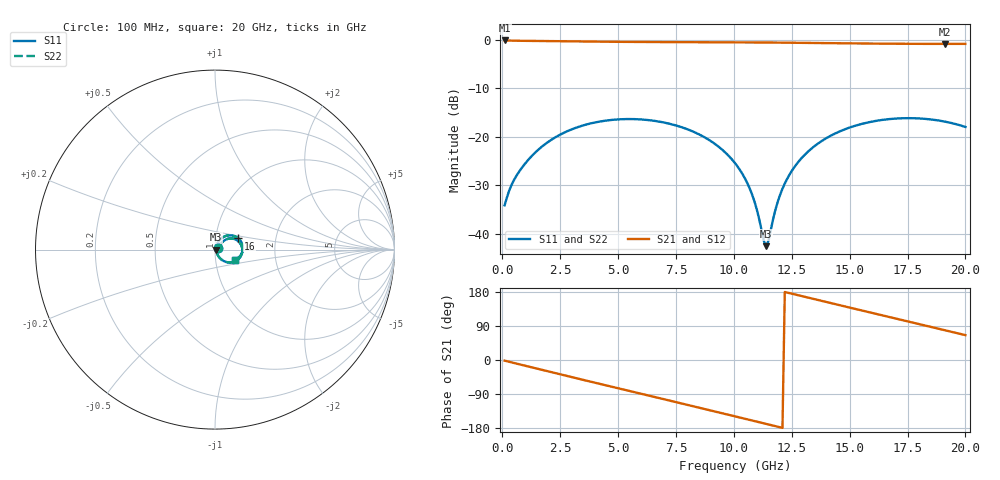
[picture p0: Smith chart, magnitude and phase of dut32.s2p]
! Touchstone file exported from HFSS 2026.1.0
!  File:  C:/ffzhzh/LocalFiles/Ansys_Project_Files/temp_train_TSV_RDL_32_1782964269_45308.aedt
!  Generated:  12:00:47 PM Jul  2, 2026
!  Design:  TSV_RDL
!  Project:  temp_train_TSV_RDL_32_1782964269_45308
! Variables:
!  h_bsmrdl = 4.35um
!  h_ox = 20um
!  h_rdl = 5um
!  h_sub = 88.58um
!  h_tmrdl = 3.45um
!  h_tsv = 88.58um
!  h_via = 3um
!  l_bsmrdl = 540.55um
!  l_sub = 4578.88um
!  l_tmrdl = 606.87um
!  m_sub = 200um
!  pitch = 33.27um
!  r_tsv = 13.45um
!  s_tmrdl = 10um
!  w_bsmrdl = 17.99um
!  w_sub = 500um
!  w_tmrdl = 25.26um
!  x_tsv_center1 = 619.5um
!  x_tsv_center2 = 1178.04um
!  x_tsv_center3 = 1810.17um
!  x_tsv_center4 = 2368.71um
!  x_tsv_center5 = 3000.84um
!  x_tsv_center6 = 3559.38um
# GHz S MA R 50.000000
! Terminal data exported
! Port[1] = TM_RDL1_1_T1
! Port[2] = TM_RDL5_1_T1
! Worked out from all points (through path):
!   200 points, 100 MHz to 20 GHz, reference 50 ohm
!   highest |S21| = -0.16 dB at 100 MHz (marker M1); lowest = -0.9 dB at 19.1 GHz (marker M2)
!   group delay of S21, straight-line fit = 40.8 ps
!   lowest |S11| = -42.5 dB at 11.4 GHz (marker M3), VSWR 1.02, Z = 50.8 + j0.0534 ohm
!   |S11| at or under -10 dB: start of sweep to end of sweep
!   |S22| runs from -42.7 to -16.2 dB; largest |S21 - S12| = 2.8e-14
!   S11 on the Smith chart (normalised r, x): 100 MHz: 1.04, +0.01; 16 GHz: 1.29, +0.16; 20 GHz: 1.25, -0.14
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0.1  0.01978 18.6  0.9814 -1.7  0.9814 -1.7  0.01978 18.6
! Gamma 0 0 0 0
! Port Impedance 50 0 50 0
0.5  0.03578 40.1  0.9757 -7.8  0.9757 -7.8  0.03578 40.1
1.3  0.06456 45.3  0.9708 -19.8  0.9708 -19.8  0.06456 45.3
2.3  0.0992 38.3  0.9651 -34.8  0.9651 -34.8  0.0992 38.3
3.5  0.1313 24.2  0.9577 -52.6  0.9577 -52.6  0.1313 24.2
5.2  0.1521 1.8  0.9491 -77.5  0.9491 -77.5  0.1521 1.8
6.8  0.1432 -19.8  0.9448 -100.8  0.9448 -100.8  0.1432 -19.9
8.7  0.1001 -45.0  0.9422 -128.7  0.9422 -128.7  0.1001 -45.1
10.1  0.05181 -60.8  0.9397 -149.4  0.9397 -149.4  0.05181 -61.0
10.8  0.02507 -61.6  0.9376 -159.8  0.9376 -159.8  0.02504 -62.0
11.3  0.008426 -23.2  0.9357 -167.2  0.9357 -167.2  0.008274 -23.9
11.4  0.007504 4.0  0.9353 -168.7  0.9353 -168.7  0.007319 3.9
11.9  0.02164 65.2  0.9331 -176.1  0.9331 -176.1  0.02156 65.6
12.2  0.03307 68.1  0.9316 179.4  0.9316 179.4  0.033 68.4
12.7  0.05209 65.9  0.9289 172.1  0.9289 172.1  0.05204 66.1
13.4  0.07739 58.8  0.9249 161.8  0.9249 161.8  0.07736 59.0
14.6  0.1145 44.0  0.9179 144.2  0.9179 144.2  0.1145 44.1
16  0.1441 25.6  0.911 123.8  0.911 123.8  0.1441 25.7
16.7  0.1522 16.4  0.9084 113.7  0.9084 113.7  0.1522 16.4
17.9  0.1551 0.5  0.9057 96.3  0.9057 96.3  0.1551 0.6
19.1  0.1438 -15.2  0.9049 78.8  0.9049 78.8  0.1438 -15.2
20  0.1265 -26.7  0.9051 65.6  0.9051 65.6  0.1265 -26.6
